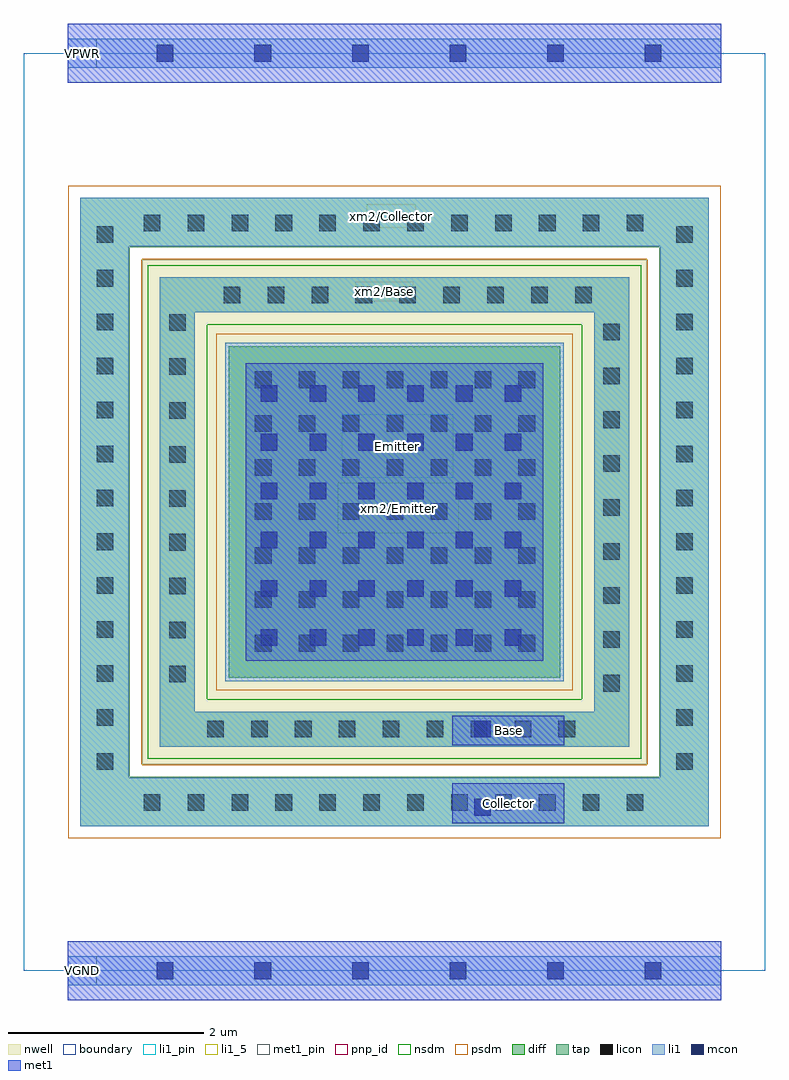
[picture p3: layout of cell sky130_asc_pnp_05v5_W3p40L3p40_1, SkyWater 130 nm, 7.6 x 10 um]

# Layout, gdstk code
import gdstk
lib = gdstk.Library(unit=1e-6, precision=1e-09)
def R(c, l, rs):  # rectangles x0, y0, x1, y1
    for r in rs: c.add(gdstk.rectangle(r[:2], r[2:], *l))
def A(c, l, x, y, w, h, nx, ny, dx, dy):  # array of equal rectangles
    R(c, l, [(x+i*dx, y+j*dy, x+i*dx+w, y+j*dy+h) for i in range(nx) for j in range(ny)])
nwell = (64, 20)
diff = (65, 20)
tap = (65, 44)
licon = (66, 44)
li1_5 = (67, 5)
li1_pin = (67, 16)
li1 = (67, 20)
mcon = (67, 44)
met1_pin = (68, 16)
met1 = (68, 20)
pnp_id = (82, 44)
nsdm = (93, 44)
psdm = (94, 20)
boundary = (235, 4)

sky130_asc_pnp_05v5_w3p4 = lib.new_cell('sky130_asc_pnp_05v5_W3p40L3p40_1')
R(sky130_asc_pnp_05v5_w3p4, nwell, [(1.215,2.115,6.385,7.285)])
R(sky130_asc_pnp_05v5_w3p4, diff, [(2.1,3,5.5,6.4)])
R(sky130_asc_pnp_05v5_w3p4, tap, [(0.58,1.48,7.02,1.985), (0.58,1.985,1.085,7.415), (6.515,1.985,7.02,7.415), (1.395,2.295,6.205,2.655), (1.395,2.655,1.755,6.745), (5.845,2.655,6.205,6.745), (1.395,6.745,6.205,7.105), (0.58,7.415,7.02,7.92)])
A(sky130_asc_pnp_05v5_w3p4, licon, 1.23, 1.64, 0.17, 0.17, 12, 2, 0.45, 5.935)
A(sky130_asc_pnp_05v5_w3p4, licon, 0.75, 2.06, 0.17, 0.17, 1, 13, 0, 0.45)
A(sky130_asc_pnp_05v5_w3p4, licon, 6.685, 2.06, 0.17, 0.17, 1, 13, 0, 0.45)
A(sky130_asc_pnp_05v5_w3p4, licon, 1.88, 2.39, 0.17, 0.17, 9, 1, 0.45, 0)
A(sky130_asc_pnp_05v5_w3p4, licon, 5.94, 2.86, 0.17, 0.17, 1, 9, 0, 0.45)
A(sky130_asc_pnp_05v5_w3p4, licon, 1.49, 2.955, 0.17, 0.17, 1, 9, 0, 0.45)
A(sky130_asc_pnp_05v5_w3p4, licon, 2.37, 3.27, 0.17, 0.17, 7, 7, 0.45, 0.45)
A(sky130_asc_pnp_05v5_w3p4, licon, 2.05, 6.84, 0.17, 0.17, 9, 1, 0.45, 0)
R(sky130_asc_pnp_05v5_w3p4, li1_5, [(3.22,4.48,4.46,5), (3.4,6.86,3.99,7.06), (3.515,7.61,4.02,7.855)])
R(sky130_asc_pnp_05v5_w3p4, li1_pin, [(3.26,5.05,4.4,5.7)])
R(sky130_asc_pnp_05v5_w3p4, li1, [(0.45,-0.15,7.15,0.15), (0.58,1.48,7.02,1.975), (0.58,1.975,1.075,7.425), (6.525,1.975,7.02,7.425), (1.395,2.295,6.205,2.655), (1.395,2.655,1.755,6.745), (5.845,2.655,6.205,6.745), (2.065,2.965,5.535,6.435), (1.395,6.745,6.205,7.105), (0.58,7.425,7.02,7.92), (0.45,9.25,7.15,9.55)])
A(sky130_asc_pnp_05v5_w3p4, mcon, 1.365, -0.085, 0.17, 0.17, 6, 2, 1, 9.4)
A(sky130_asc_pnp_05v5_w3p4, mcon, 2.43, 3.33, 0.17, 0.17, 6, 6, 0.5, 0.5)
R(sky130_asc_pnp_05v5_w3p4, mcon, [(4.615,1.59,4.785,1.76), (4.615,2.39,4.785,2.56)])
R(sky130_asc_pnp_05v5_w3p4, met1_pin, [(0.45,-0.15,0.75,0.15), (4.39,1.51,5.54,1.92), (4.39,2.31,5.54,2.61), (0.45,9.25,0.75,9.55)])
R(sky130_asc_pnp_05v5_w3p4, met1, [(0.45,-0.3,7.15,0.3), (4.39,1.51,5.54,1.92), (4.39,2.31,5.54,2.61), (2.275,3.175,5.325,6.225), (0.45,9.1,7.15,9.7)])
R(sky130_asc_pnp_05v5_w3p4, pnp_id, [(0.58,1.48,7.02,7.92)])
R(sky130_asc_pnp_05v5_w3p4, nsdm, [(1.27,2.17,6.33,2.78), (1.27,2.78,1.88,6.62), (5.72,2.78,6.33,6.62), (1.27,6.62,6.33,7.23)])
R(sky130_asc_pnp_05v5_w3p4, psdm, [(0.455,1.355,7.145,2.11), (0.455,2.11,1.21,7.29), (6.39,2.11,7.145,7.29), (1.975,2.875,5.625,6.525), (0.455,7.29,7.145,8.045)])
R(sky130_asc_pnp_05v5_w3p4, boundary, [(0,0,7.6,9.4)])
sky130_asc_pnp_05v5_w3p4.add(gdstk.Label('xm2/Emitter', (3.84,4.74), layer=67, texttype=5))
sky130_asc_pnp_05v5_w3p4.add(gdstk.Label('xm2/Collector', (3.767,7.732), layer=67, texttype=5))
sky130_asc_pnp_05v5_w3p4.add(gdstk.Label('xm2/Base', (3.695,6.96), layer=67, texttype=5))
sky130_asc_pnp_05v5_w3p4.add(gdstk.Label('Emitter', (3.83,5.375), layer=67, texttype=16))
sky130_asc_pnp_05v5_w3p4.add(gdstk.Label('Base', (4.965,2.46), layer=68, texttype=16))
sky130_asc_pnp_05v5_w3p4.add(gdstk.Label('Collector', (4.965,1.715), layer=68, texttype=16))
sky130_asc_pnp_05v5_w3p4.add(gdstk.Label('VPWR', (0.6,9.4), layer=68, texttype=16))
sky130_asc_pnp_05v5_w3p4.add(gdstk.Label('VGND', (0.6,0), layer=68, texttype=16))

lib.write_gds('sky130_asc_pnp_05v5_W3p40L3p40_1.gds')
